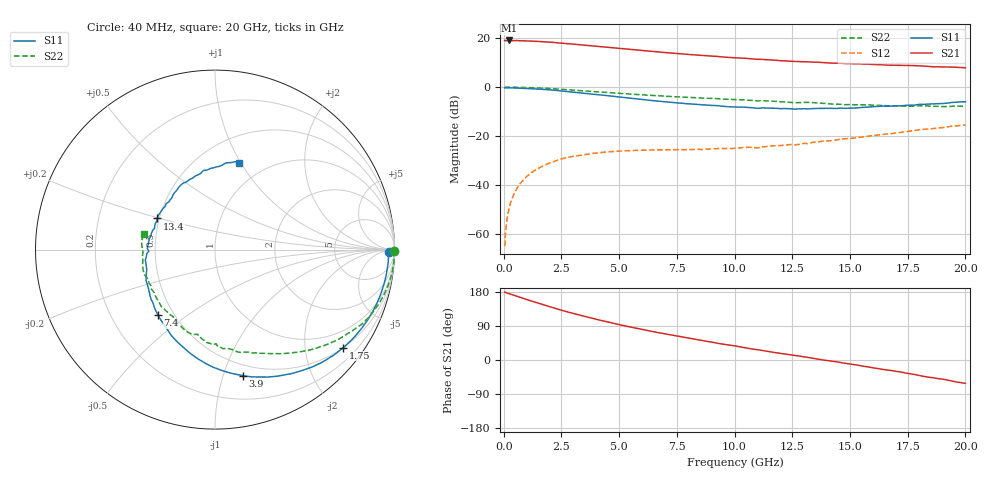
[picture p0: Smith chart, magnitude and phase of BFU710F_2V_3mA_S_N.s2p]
! Filename:  P:\Prog\Test\Noise\ATS_data\Testdata_Net\BFU710\BFU710_2W_A1_2V3mA_D.s2p
! Date/Time: Fri 29/Apr/2011 13:26:53
! BFU710_2W_A1_2V3mA
! bias mode 1: Vout= 2.0001 V, Iout= 3.0050 mA, Vin= 0.8097 V, Iin= 0.0098 mA
! Date/time Wed Mar 16 11:08:29 2011
! Device data file deembeded for feedlines and parallel
! Original file: \BFU710\BFU710_2W_A1_2V3mA_R.s2p
! Feed-files: PR003V01_101208_Feed1.s2p, PR003V01_101208_Feed2.s2p
! Parallel-file: PR003V01_101208_Par.s2p
# MHz S MA R 50
!  Freq-MHz  S11-mag  S11-arg  S21-mag  S21-arg  S12-mag  S12-arg  S22-mag  S22-arg
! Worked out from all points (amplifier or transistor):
!   167 points, 40 MHz to 20 GHz, reference 50 ohm
!   highest |S21| = 19.0 dB at 240 MHz (marker M1)
!   |S21| within 3 dB of that: start of sweep to 4.775 GHz
!   unconditionally stable (mu >= 1): 7.78 GHz to 17.4 GHz
!   at 550 MHz: K = 0.01, MSG = 30.3 dB, |S12| = -41.7 dB
!   at 4.2 GHz: K = 0.46, MSG = 21.6 dB, |S12| = -26.7 dB
!   at 20 GHz: K = 0.81, MSG = 11.7 dB, |S12| = -15.4 dB
!   lowest NFmin = 0.59 dB at 400 MHz
!   S11 on the Smith chart (normalised r, x): 40 MHz: 51, -23; 1.75 GHz: 0.50, -2.87; 3.9 GHz: 0.40, -1.16; 7.4 GHz: 0.41, -0.39; 13.4 GHz: 0.49, +0.20; 20 GHz: 0.76, +0.99
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40  0.9677 -0.8  8.923 179.1  0.0005729 86.2  0.9992 -0.4
140  0.9675 -3.0  8.909 177.2  0.001992 90.2  0.9999 -1.6
240  0.9665 -5.2  8.957 175.0  0.003493 89.1  0.9997 -2.8
800  0.9519 -17.4  8.873 163.5  0.01209 80.8  0.99 -9.6
1400  0.9217 -30.2  8.606 151.7  0.0208 71.6  0.9677 -16.7
1750  0.8992 -37.4  8.417 145.0  0.02534 66.7  0.9505 -20.6
2450  0.8427 -51.6  7.943 132.2  0.03393 57.8  0.9065 -28.2
3400  0.7605 -69.0  7.272 116.7  0.04148 46.4  0.845 -36.8
3900  0.7185 -77.7  6.929 109.1  0.04471 41.9  0.8136 -40.8
4400  0.6774 -86.1  6.602 101.7  0.04742 37.5  0.784 -44.8
5200  0.6158 -99.0  6.074 90.7  0.05033 31.5  0.7377 -50.7
6000  0.5598 -111.0  5.592 80.5  0.05186 26.7  0.6971 -56.1
6800  0.5123 -122.6  5.171 71.1  0.05262 23.3  0.6622 -61.2
7400  0.4838 -131.0  4.899 64.2  0.05287 21.7  0.6378 -64.9
8800  0.4289 -150.2  4.367 49.2  0.05439 20.4  0.594 -73.9
10200  0.3924 -168.3  3.943 35.2  0.05756 20.7  0.5542 -83.7
11600  0.3726 173.3  3.587 21.2  0.06343 21.6  0.5201 -94.8
13400  0.3663 151.7  3.239 4.5  0.07533 22.1  0.4828 -109.2
15400  0.3826 127.9  2.986 -14.2  0.09477 18.4  0.4376 -128.2
16800  0.4113 111.8  2.808 -27.9  0.113 12.8  0.4154 -144.5
18200  0.4461 95.3  2.689 -43.3  0.1379 4.3  0.4157 -164.7
20000  0.5035 74.3  2.486 -61.7  0.1697 -7.9  0.4067 167.3
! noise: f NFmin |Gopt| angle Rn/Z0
400  0.5942  0.7  3.13  0.3747
850  0.6147  0.6814  8.15  0.3713
1500  0.6459  0.6572  15.19  0.3643
2150  0.6787  0.6351  22.01  0.3549
3000  0.7242  0.6077  30.64  0.3396
4300  0.7993  0.5663  43.46  0.3108
6200  0.9212  0.5045  62.24  0.2614
8600  1.096  0.4294  87.7  0.1966
1.3e+04  1.476  0.3168  142.5  0.1158
1.8e+04  2.001  0.2994  250  0.1797
